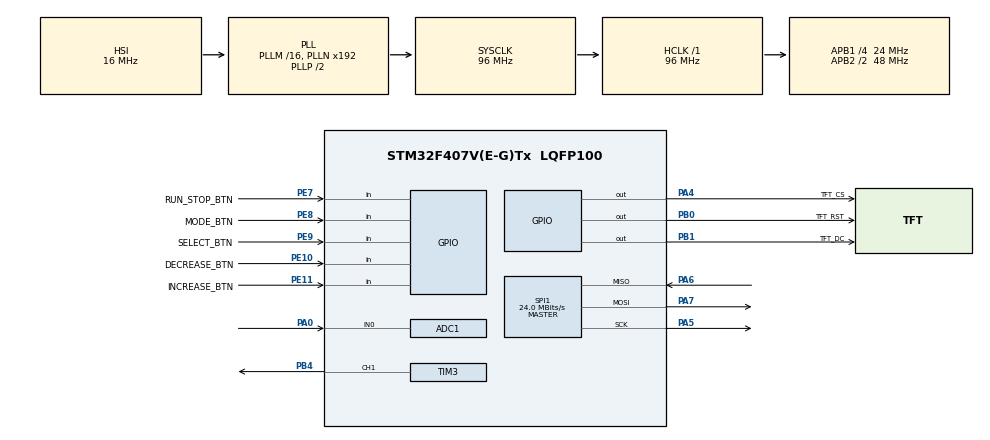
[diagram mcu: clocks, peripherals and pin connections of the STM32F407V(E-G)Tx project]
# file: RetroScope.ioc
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ADC1.Channel-0\#ChannelRegularConversion=ADC_CHANNEL_0
ADC1.DMAContinuousRequests=ENABLE
ADC1.ExternalTrigConv=ADC_EXTERNALTRIGCONV_T2_TRGO
ADC1.InjNumberOfConversion=0
ADC1.NbrOfConversion=1
ADC1.NbrOfConversionFlag=1
ADC1.Rank-0\#ChannelRegularConversion=1
ADC1.SamplingTime-0\#ChannelRegularConversion=ADC_SAMPLETIME_84CYCLES
ADC1.master=1
Dma.ADC1.0.Direction=DMA_PERIPH_TO_MEMORY
Dma.ADC1.0.FIFOMode=DMA_FIFOMODE_DISABLE
Dma.ADC1.0.Instance=DMA2_Stream0
Dma.ADC1.0.MemDataAlignment=DMA_MDATAALIGN_HALFWORD
Dma.ADC1.0.MemInc=DMA_MINC_ENABLE
Dma.ADC1.0.Mode=DMA_CIRCULAR
Dma.ADC1.0.PeriphDataAlignment=DMA_PDATAALIGN_HALFWORD
Dma.ADC1.0.PeriphInc=DMA_PINC_DISABLE
Dma.ADC1.0.Priority=DMA_PRIORITY_HIGH
Dma.Request0=ADC1
Mcu.Family=STM32F4
Mcu.Name=STM32F407V(E-G)Tx
Mcu.Package=LQFP100
NVIC.DMA2_Stream0_IRQn=true\:0\:0\:false\:false\:true\:false\:true\:true
NVIC.PriorityGroup=NVIC_PRIORITYGROUP_4
PA0-WKUP.Signal=ADCx_IN0
PA4.GPIO_Label=TFT_CS
PA4.PinState=GPIO_PIN_SET
PA4.Signal=GPIO_Output
PA5.Mode=Full_Duplex_Master
PA5.Signal=SPI1_SCK
PA6.Mode=Full_Duplex_Master
PA6.Signal=SPI1_MISO
PA7.Mode=Full_Duplex_Master
PA7.Signal=SPI1_MOSI
PB0.GPIO_Label=TFT_RST
PB0.PinState=GPIO_PIN_SET
PB0.Signal=GPIO_Output
PB1.GPIO_Label=TFT_DC
PB1.GPIO_ModeDefaultOutputPP=GPIO_MODE_OUTPUT_PP
PB1.GPIO_PuPd=GPIO_NOPULL
PB1.PinState=GPIO_PIN_SET
PB1.Signal=GPIO_Output
PB4.Signal=S_TIM3_CH1
PE10.GPIO_Label=DECREASE_BTN
PE10.GPIO_PuPd=GPIO_PULLUP
PE10.Signal=GPIO_Input
PE11.GPIO_Label=INCREASE_BTN
PE11.GPIO_PuPd=GPIO_PULLUP
PE11.Signal=GPIO_Input
PE7.GPIO_Label=RUN_STOP_BTN
PE7.GPIO_PuPd=GPIO_PULLUP
PE7.Signal=GPIO_Input
PE8.GPIO_Label=MODE_BTN
PE8.GPIO_PuPd=GPIO_PULLUP
PE8.Signal=GPIO_Input
PE9.GPIO_Label=SELECT_BTN
PE9.GPIO_PuPd=GPIO_PULLUP
PE9.Signal=GPIO_Input
ProjectManager.HeapSize=0x200
ProjectManager.StackSize=0x400
ProjectManager.TargetToolchain=STM32CubeIDE
RCC.AHBFreq_Value=96000000
RCC.APB1CLKDivider=RCC_HCLK_DIV4
RCC.APB1Freq_Value=24000000
RCC.APB1TimFreq_Value=48000000
RCC.APB2CLKDivider=RCC_HCLK_DIV2
RCC.APB2Freq_Value=48000000
RCC.APB2TimFreq_Value=96000000
RCC.CortexFreq_Value=96000000
RCC.HCLKFreq_Value=96000000
RCC.HSE_VALUE=25000000
RCC.HSI_VALUE=16000000
RCC.LSE_VALUE=32768
RCC.SYSCLKFreq_VALUE=96000000
RCC.SYSCLKSource=RCC_SYSCLKSOURCE_PLLCLK
RCC.VCOOutputFreq_Value=192000000
SH.ADCx_IN0.0=ADC1_IN0,IN0
SH.S_TIM3_CH1.0=TIM3_CH1,PWM Generation1 CH1
SPI1.BaudRatePrescaler=SPI_BAUDRATEPRESCALER_2
SPI1.CalculateBaudRate=24.0 MBits/s
SPI1.Direction=SPI_DIRECTION_2LINES
SPI1.Mode=SPI_MODE_MASTER
SPI1.VirtualType=VM_MASTER
TIM2.Period=99
TIM2.Prescaler=47
TIM2.TIM_MasterOutputTrigger=TIM_TRGO_UPDATE
TIM3.Channel-PWM\ Generation1\ CH1=TIM_CHANNEL_1
TIM3.Period=4999
TIM3.Prescaler=47
TIM3.Pulse-PWM\ Generation1\ CH1=2500
VP_TIM2_VS_ClockSourceINT.Mode=Internal
VP_TIM3_VS_ClockSourceINT.Mode=Internal
board=custom

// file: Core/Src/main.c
/* USER CODE BEGIN Header */
/**
 ******************************************************************************
 * @file           : main.c
 * @brief          : Main program body
 ******************************************************************************
 * @attention
 *
 * Copyright (c) 2026 STMicroelectronics.
 * All rights reserved.
 *
 * This software is licensed under terms that can be found in the LICENSE file
 * in the root directory of this software component.
 * If no LICENSE file comes with this software, it is provided AS-IS.
 *
 ******************************************************************************
 */
/* USER CODE END Header */
#include "main.h"
#include "adc.h"
#include "dma.h"
#include "spi.h"
#include "tim.h"
#include "gpio.h"

/* USER CODE BEGIN Includes */

#include "retroscope_ui.h"
#include "st7796.h"
#include "retroscope_input.h"

/* USER CODE END Includes */

/* USER CODE BEGIN PD */

#define FRAME_INTERVAL_MS 33U
#define ADC_SAMPLES_PER_HALF 802U
#define ADC_BUFFER_SIZE (ADC_SAMPLES_PER_HALF * 2U)
#define ADC_DISPLAY_SAMPLES RETROSCOPE_WAVEFORM_SAMPLES
#define ADC_TRIGGER_LEVEL 2048U
#define ADC_TRIGGER_HYSTERESIS 64U
// Trigger-center adjustment per accepted button press, in ADC counts.
#define ADC_TRIGGER_LEVEL_STEP 128U
#define ADC_TRIGGER_EDGE_RISING 0U
#define ADC_TRIGGER_EDGE_FALLING 1U
#define ADC_TRIGGER_MODE_AUTO 0U
#define ADC_TRIGGER_MODE_NORMAL 1U
#define ADC_TRIGGER_MODE_SINGLE 2U
#define SINGLE_STATE_IDLE 0U
#define SINGLE_STATE_ARMED 1U
#define SINGLE_STATE_CAPTURED 2U
#define SINGLE_STATE_RENDERING 3U
// Nominal sampling rate for the current fixed TIM2 configuration.
#define ADC_SAMPLE_RATE_HZ 10000U
// Frequency detection thresholds in raw ADC counts.
#define ADC_FREQUENCY_LOW_LEVEL 1984U
#define ADC_FREQUENCY_HIGH_LEVEL 2112U
// Assumed ADC reference voltage; not yet calibrated.
#define ADC_REFERENCE_VOLTS 3.3f
#define ADC_MAX_COUNT 4095U

/* USER CODE END PD */

/* USER CODE BEGIN PV */

static uint32_t LastFrameTick = 0U;
static uint32_t FrameStartCycles = 0U;
volatile uint32_t FrameCycles = 0U;
volatile float FrameTimeMs = 0.0f;

volatile float MaxFrameTimeMs = 0.0f;
volatile float MinFrameTimeMs = 1000000.0f;
volatile float SpiTransferMs = 0.0f;
volatile float ActualFPS = 0.0f;
static uint32_t PreviousFrameStart = 0U;
// DMA writes AdcBuffer; the ISR publishes a copy into AdcCaptureBuffer.
uint16_t AdcBuffer[ADC_BUFFER_SIZE];
uint16_t AdcSnapshot[ADC_DISPLAY_SAMPLES];
uint16_t AdcDisplayBuffer[ADC_DISPLAY_SAMPLES];
uint16_t AdcCaptureBuffer[ADC_SAMPLES_PER_HALF];
// 0: ISR may write. 1: main owns the capture until processing finishes.
volatile uint32_t AdcCaptureReady = 0U;
volatile uint32_t AdcDroppedCaptureCount = 0U;
volatile uint32_t AdcUnsafeCaptureCount = 0U;

volatile float ActualSampleRate = 0.0f;

static uint32_t LastSampleRateTick = 0U;
static uint32_t PreviousBufferCount = 0U;
volatile uint32_t AdcHalfCompleteCount = 0U;
volatile uint32_t AdcBufferCompleteCount = 0U;
volatile uint16_t AdcLatestSample = 0U;
volatile uint32_t AdcSnapshotCount = 0U;

static uint32_t LastDisplayedSnapshot = 0U;
volatile uint32_t DisplaySnapshotCount = 0U;
volatile uint16_t AdcMinValue = 4095U;
volatile uint16_t AdcMaxValue = 0U;
// Main-loop trigger processing time, including any interrupt preemption.
volatile uint32_t AdcProcessingCycles = 0U;
volatile uint32_t MaxAdcProcessingCycles = 0U;
// Successful DMA-half copy and publication time; excludes skipped captures.
volatile uint32_t AdcCaptureCopyCycles = 0U;
volatile uint32_t MaxAdcCaptureCopyCycles = 0U;
volatile float AdcFrequencyHz = 0.0f;
volatile uint32_t AdcFrequencyValid = 0U;
volatile uint32_t AdcFrequencyPeriodCount = 0U;
static uint32_t LastFrequencyDisplayTick = 0U;
volatile float AdcMinVolts = 0.0f;
volatile float AdcMaxVolts = 0.0f;
volatile float AdcPeakToPeakVolts = 0.0f;
// Display control: 0 stops updates; nonzero runs.
volatile uint32_t RequestedRun = 1U;

// Applied only between complete waveform frames.
static uint8_t DisplayRunning = 1U;
// Requested horizontal scale, in microseconds per division.
volatile uint32_t RequestedTimebaseUs = RETROSCOPE_TIMEBASE_4_MS;
// Requested vertical display mode.
volatile uint32_t RequestedVerticalScale = RETROSCOPE_VERTICAL_FULL_RANGE;
// Requested waveform trigger edge; rising is the default.
volatile uint32_t RequestedTriggerEdge = ADC_TRIGGER_EDGE_RISING;
// Requested trigger center level, in raw ADC counts.
volatile uint32_t RequestedTriggerLevel = ADC_TRIGGER_LEVEL;
static uint32_t SnapshotTriggerEdge = ADC_TRIGGER_EDGE_RISING;
// Requested trigger mode; Auto allows free-running fallback captures.
volatile uint32_t RequestedTriggerMode = ADC_TRIGGER_MODE_AUTO;
// Write 1 to request a new Single capture; main clears it when handled.
volatile uint32_t RequestedSingleArm = 0U;
static uint32_t SnapshotTriggerLevel = ADC_TRIGGER_LEVEL;
// 1: a trigger was found. 0: this snapshot uses the fallback window.
static uint8_t SnapshotTriggered = 0U;
static float SnapshotFrequencyHz = 0.0f;
static uint8_t SnapshotFrequencyValid = 0U;
static float DisplayFrequencyHz = 0.0f;
static uint8_t DisplayFrequencyValid = 0U;
static uint32_t ActiveTriggerMode = ADC_TRIGGER_MODE_AUTO;
static uint8_t TriggerWaiting = 0U;
// Single capture progresses from armed to captured to rendering.
static uint8_t SingleState = SINGLE_STATE_IDLE;
// Selected setting for the shared decrease/increase buttons.
static uint32_t SelectedSetting = RETROSCOPE_SETTING_TIMEBASE;
// Settings associated with the frame selected for display.
static uint32_t DisplayTimebaseUs = RETROSCOPE_TIMEBASE_4_MS;
static uint32_t DisplayVerticalScale = RETROSCOPE_VERTICAL_FULL_RANGE;
static uint32_t DisplayTriggerEdge = ADC_TRIGGER_EDGE_RISING;
static uint32_t DisplayTriggerLevel = ADC_TRIGGER_LEVEL;
static uint8_t DisplaySettingsValid = 0U;

/* USER CODE END PV */

void SystemClock_Config(void);
/* USER CODE BEGIN PFP */

static void RetroScope_ProcessAdcCapture(const uint16_t* Samples);

/* USER CODE END PFP */

/* USER CODE BEGIN 0 */

static uint8_t RetroScope_HasPendingSettings(void) {
  if (DisplaySettingsValid == 0U) {
    return 0U;
  }

  uint32_t TimebaseUs = RequestedTimebaseUs;
  uint32_t VerticalScale = RequestedVerticalScale;
  uint32_t TriggerEdge = RequestedTriggerEdge;
  uint32_t TriggerLevel = RequestedTriggerLevel;

  // Match the effective settings used by acquisition and rendering.
  if (TimebaseUs != RETROSCOPE_TIMEBASE_2_MS) {
    TimebaseUs = RETROSCOPE_TIMEBASE_4_MS;
  }

  if (VerticalScale != RETROSCOPE_VERTICAL_1_V_DIV) {
    VerticalScale = RETROSCOPE_VERTICAL_FULL_RANGE;
  }

  if (TriggerEdge != ADC_TRIGGER_EDGE_FALLING) {
    TriggerEdge = ADC_TRIGGER_EDGE_RISING;
  }

  if (TriggerLevel < ADC_TRIGGER_HYSTERESIS) {
    TriggerLevel = ADC_TRIGGER_HYSTERESIS;
  } else if (TriggerLevel > ADC_MAX_COUNT - ADC_TRIGGER_HYSTERESIS) {
    TriggerLevel = ADC_MAX_COUNT - ADC_TRIGGER_HYSTERESIS;
  }

  return (TimebaseUs != DisplayTimebaseUs ||
          VerticalScale != DisplayVerticalScale ||
          TriggerEdge != DisplayTriggerEdge ||
          TriggerLevel != DisplayTriggerLevel)
             ? 1U
             : 0U;
}

static void RetroScope_MeasureFrequency(const uint16_t* Samples) {
  uint16_t FirstEdge = 0U;
  uint16_t LastEdge = 0U;
  uint16_t EdgeCount = 0U;
  uint8_t EdgeArmed = 0U;

  AdcFrequencyValid = 0U;
  AdcFrequencyHz = 0.0f;
  AdcFrequencyPeriodCount = 0U;

  for (uint16_t i = 0U; i < ADC_SAMPLES_PER_HALF; i++) {
    uint16_t Sample = Samples[i];

    if (Sample <= ADC_FREQUENCY_LOW_LEVEL) {
      EdgeArmed = 1U;
    } else if (EdgeArmed != 0U && Sample >= ADC_FREQUENCY_HIGH_LEVEL) {
      if (EdgeCount == 0U) {
        FirstEdge = i;
      }

      LastEdge = i;
      EdgeCount++;
      EdgeArmed = 0U;
    }
  }

  if (EdgeCount < 2U) {
    return;
  }

  uint32_t PeriodCount = EdgeCount - 1U;
  uint32_t SampleSpan = LastEdge - FirstEdge;

  AdcFrequencyHz =
      ((float)ADC_SAMPLE_RATE_HZ * (float)PeriodCount) / (float)SampleSpan;

  AdcFrequencyPeriodCount = PeriodCount;
  AdcFrequencyValid = 1U;
}

static void RetroScope_EnableCycleCounter(void) {
  // Enable trace functionality
  CoreDebug->DEMCR |= CoreDebug_DEMCR_TRCENA_Msk;

  // Reset the cycle counter
  DWT->CYCCNT = 0U;

  // Enable cycle counting
  DWT->CTRL |= DWT_CTRL_CYCCNTENA_Msk;
}

static uint8_t RetroScope_GetAdcSnapshot(void) {
  // Snapshot production and display copying both run in the main loop.
  if (AdcSnapshotCount == LastDisplayedSnapshot) {
    return 0U;
  }

  for (uint16_t i = 0U; i < ADC_DISPLAY_SAMPLES; i++) {
    AdcDisplayBuffer[i] = AdcSnapshot[i];
  }

  DisplayFrequencyHz = SnapshotFrequencyHz;
  DisplayFrequencyValid = SnapshotFrequencyValid;
  LastDisplayedSnapshot = AdcSnapshotCount;

  DisplaySnapshotCount++;

  return 1U;
}

static void RetroScope_MeasureAdcRange(void) {
  uint16_t min = ADC_MAX_COUNT;
  uint16_t max = 0U;

  for (uint16_t i = 0U; i < ADC_DISPLAY_SAMPLES; i++) {
    uint16_t sample = AdcDisplayBuffer[i];

    if (sample < min) {
      min = sample;
    }

    if (sample > max) {
      max = sample;
    }
  }

  AdcMinValue = min;
  AdcMaxValue = max;

  const float VoltsPerCount = ADC_REFERENCE_VOLTS / (float)ADC_MAX_COUNT;

  AdcMinVolts = (float)min * VoltsPerCount;
  AdcMaxVolts = (float)max * VoltsPerCount;
  AdcPeakToPeakVolts = (float)(max - min) * VoltsPerCount;
}

/* USER CODE END 0 */

int main(void)
{

  /* MCU Configuration--------------------------------------------------------*/

  /* Reset of all peripherals, Initializes the Flash interface and the Systick. */
  HAL_Init();

  /* Configure the system clock */
  SystemClock_Config();

  /* Initialize all configured peripherals */
  MX_GPIO_Init();
  MX_DMA_Init();
  MX_SPI1_Init();
  MX_ADC1_Init();
  MX_TIM2_Init();
  MX_TIM3_Init();
  /* USER CODE BEGIN 2 */

  ST7796_Init();

  RetroScope_DrawLayout();
  RetroScope_DrawGrid();
  RetroScope_DrawLabels();

  RetroScope_EnableCycleCounter();

  if (HAL_ADC_Start_DMA(&hadc1, (uint32_t*)AdcBuffer, ADC_BUFFER_SIZE) !=
      HAL_OK) {
    Error_Handler();
  }

  if (HAL_TIM_Base_Start(&htim2) != HAL_OK) {
    Error_Handler();
  }

  if (HAL_TIM_PWM_Start(&htim3, TIM_CHANNEL_1) != HAL_OK) {
    Error_Handler();
  }

  LastFrameTick = HAL_GetTick();

  /* USER CODE END 2 */

  /* Infinite loop */
  while (1) {

    /* USER CODE BEGIN 3 */

    uint8_t RunStopPressed = RetroScope_InputPollRunStop();
    uint8_t ModePressed = RetroScope_InputPollMode();
    uint8_t SelectPressed = RetroScope_InputPollSelect();
    uint8_t DecreasePressed = RetroScope_InputPollDecrease();
    uint8_t IncreasePressed = RetroScope_InputPollIncrease();

    // If both events arrive in this pass, mode selection takes priority.
    if (ModePressed != 0U) {
      uint32_t Mode = RequestedTriggerMode;

      if (Mode == ADC_TRIGGER_MODE_AUTO) {
        RequestedTriggerMode = ADC_TRIGGER_MODE_NORMAL;
      } else if (Mode == ADC_TRIGGER_MODE_NORMAL) {
        RequestedTriggerMode = ADC_TRIGGER_MODE_SINGLE;
      } else {
        RequestedTriggerMode = ADC_TRIGGER_MODE_AUTO;
      }

      // A mode change must not carry an old arm request into Single.
      RequestedSingleArm = 0U;
    } else if (RunStopPressed != 0U) {
      if (RequestedTriggerMode == ADC_TRIGGER_MODE_SINGLE) {
        if (SingleState == SINGLE_STATE_IDLE) {
          RequestedSingleArm = 1U;
        } else {
          RequestedSingleArm = 0U;
          RequestedRun = 0U;
        }
      } else {
        RequestedRun = (RequestedRun != 0U) ? 0U : 1U;
      }
    }

    if (SelectPressed != 0U) {
      SelectedSetting++;

      if (SelectedSetting >= RETROSCOPE_SETTING_COUNT) {
        SelectedSetting = RETROSCOPE_SETTING_TIMEBASE;
      }
    }

    // Ignore adjustment when SELECT or both adjustment events arrive together.
    if (SelectPressed == 0U &&
        DecreasePressed != IncreasePressed) {
      if (SelectedSetting == RETROSCOPE_SETTING_TIMEBASE) {
        RequestedTimebaseUs =
            (DecreasePressed != 0U)
                ? RETROSCOPE_TIMEBASE_2_MS
                : RETROSCOPE_TIMEBASE_4_MS;
      } else if (SelectedSetting == RETROSCOPE_SETTING_VERTICAL_SCALE) {
        RequestedVerticalScale =
            (DecreasePressed != 0U)
                ? RETROSCOPE_VERTICAL_FULL_RANGE
                : RETROSCOPE_VERTICAL_1_V_DIV;
      } else if (SelectedSetting == RETROSCOPE_SETTING_TRIGGER_LEVEL) {
        const uint32_t MinLevel = ADC_TRIGGER_HYSTERESIS;
        const uint32_t MaxLevel = ADC_MAX_COUNT - ADC_TRIGGER_HYSTERESIS;
        uint32_t Level = RequestedTriggerLevel;

        // Normalize debugger-written values before applying a step.
        if (Level < MinLevel) {
          Level = MinLevel;
        } else if (Level > MaxLevel) {
          Level = MaxLevel;
        }

        if (DecreasePressed != 0U) {
          Level = (Level - MinLevel >= ADC_TRIGGER_LEVEL_STEP)
                      ? Level - ADC_TRIGGER_LEVEL_STEP
                      : MinLevel;
        } else {
          Level = (MaxLevel - Level >= ADC_TRIGGER_LEVEL_STEP)
                      ? Level + ADC_TRIGGER_LEVEL_STEP
                      : MaxLevel;
        }

        RequestedTriggerLevel = Level;
      } else if (SelectedSetting == RETROSCOPE_SETTING_TRIGGER_EDGE) {
        RequestedTriggerEdge =
            (DecreasePressed != 0U)
                ? ADC_TRIGGER_EDGE_RISING
                : ADC_TRIGGER_EDGE_FALLING;
      }
    }

    // Stop or leaving Single mode cancels an unfinished Single operation.
    if (SingleState != SINGLE_STATE_IDLE &&
        (RequestedRun == 0U ||
         RequestedTriggerMode != ADC_TRIGGER_MODE_SINGLE)) {
      SingleState = SINGLE_STATE_IDLE;
      TriggerWaiting = 0U;

      // Discard any accepted snapshot that has not started displaying.
      LastDisplayedSnapshot = AdcSnapshotCount;
    }
    if (AdcCaptureReady != 0U) {
      __DMB();

      RetroScope_MeasureFrequency(AdcCaptureBuffer);
      RetroScope_ProcessAdcCapture(AdcCaptureBuffer);

      __DMB();
      // Release only after all reads of the capture have completed.
      AdcCaptureReady = 0U;
    }

    uint32_t CurrentTick = HAL_GetTick();

    // Apply Run/Stop only after the current frame is complete.
    if (RetroScope_IsFrameActive() == 0U) {
	  // Accept an arm request only when Single is idle.
	  if (RequestedSingleArm != 0U) {
		RequestedSingleArm = 0U;

		if (RequestedTriggerMode == ADC_TRIGGER_MODE_SINGLE &&
			SingleState == SINGLE_STATE_IDLE) {
	      // Skip any older snapshot still pending for display.
		  LastDisplayedSnapshot = AdcSnapshotCount;

		  SingleState = SINGLE_STATE_ARMED;
		  TriggerWaiting = 1U;
		  RequestedRun = 1U;
		  PreviousFrameStart = 0U;
		 }
	  }
      uint8_t RunRequested = (RequestedRun != 0U) ? 1U : 0U;

      if (RunRequested != DisplayRunning) {
        DisplayRunning = RunRequested;

        // Exclude time spent stopped from the next FPS calculation.
        PreviousFrameStart = 0U;
      }

      RetroScope_UpdateRunStatus(DisplayRunning);

      // Show the selected mode even while the waveform is stopped.
      RetroScope_UpdateTriggerMode(RequestedTriggerMode);

      RetroScope_UpdateSelectedSetting(SelectedSetting);

      RetroScope_UpdatePendingSettings(RetroScope_HasPendingSettings());

      if (DisplayRunning != 0U && TriggerWaiting != 0U) {
        RetroScope_UpdateTriggerStatus(0U, 1U);
      }
    }

    if (DisplayRunning != 0U &&
        RetroScope_IsFrameActive() == 0U &&
        (uint32_t)(CurrentTick - LastFrameTick) >= FRAME_INTERVAL_MS) {
      if (RetroScope_GetAdcSnapshot()) {
        if (PreviousFrameStart != 0U) {
          uint32_t Elapsed = CurrentTick - PreviousFrameStart;

          if (Elapsed > 0U) {
            ActualFPS = 1000.0f / (float)Elapsed;
          }
        }

        PreviousFrameStart = CurrentTick;
        LastFrameTick = CurrentTick;

        SpiTransferCycles = 0U;
        FrameStartCycles = DWT->CYCCNT;

        uint32_t TimebaseUs = RequestedTimebaseUs;

        if (TimebaseUs != RETROSCOPE_TIMEBASE_2_MS) {
          TimebaseUs = RETROSCOPE_TIMEBASE_4_MS;
        }

        uint32_t VerticalScale = RequestedVerticalScale;

        if (VerticalScale != RETROSCOPE_VERTICAL_1_V_DIV) {
          VerticalScale = RETROSCOPE_VERTICAL_FULL_RANGE;
        }

        RetroScope_MeasureAdcRange();
        RetroScope_LoadAdcWaveform(AdcDisplayBuffer, TimebaseUs, VerticalScale,
                                   ADC_REFERENCE_VOLTS);
        RetroScope_UpdateTimebase(TimebaseUs);
        RetroScope_UpdateVerticalScale(VerticalScale);
        RetroScope_UpdateTriggerEdge(SnapshotTriggerEdge ==
                                     ADC_TRIGGER_EDGE_FALLING);
        float TriggerVolts =
            ((float)SnapshotTriggerLevel / (float)ADC_MAX_COUNT) *
            ADC_REFERENCE_VOLTS;
        uint32_t TriggerCentivolts = (uint32_t)(TriggerVolts * 100.0f + 0.5f);

        RetroScope_UpdateTriggerLevel(TriggerCentivolts);
        RetroScope_UpdateTriggerMarker(SnapshotTriggerLevel,
                                        VerticalScale,
                                        ADC_REFERENCE_VOLTS);
        RetroScope_UpdateTriggerStatus(SnapshotTriggered, TriggerWaiting);
        // Track the frame that contains the accepted Single capture.
        if (ActiveTriggerMode == ADC_TRIGGER_MODE_SINGLE &&
            SingleState == SINGLE_STATE_CAPTURED) {
          SingleState = SINGLE_STATE_RENDERING;
        }
        // Record the effective settings used for this frame.
        DisplayTimebaseUs = TimebaseUs;
        DisplayVerticalScale = VerticalScale;
        DisplayTriggerEdge = SnapshotTriggerEdge;
        DisplayTriggerLevel = SnapshotTriggerLevel;
        DisplaySettingsValid = 1U;

        RetroScope_BeginFrame();
      }
    }

    if (RetroScope_IsFrameActive() != 0U) {
      RetroScope_RenderStep();

      if (RetroScope_IsFrameActive() == 0U) {
        FrameCycles = DWT->CYCCNT - FrameStartCycles;
        FrameTimeMs =
            (float)FrameCycles * 1000.0f / (float)HAL_RCC_GetHCLKFreq();

        if (FrameTimeMs > MaxFrameTimeMs) {
          MaxFrameTimeMs = FrameTimeMs;
        }

        if (FrameTimeMs < MinFrameTimeMs) {
          MinFrameTimeMs = FrameTimeMs;
        }

        SpiTransferMs =
            (float)SpiTransferCycles * 1000.0f / (float)HAL_RCC_GetHCLKFreq();
      }
    }

    uint32_t FrequencyDisplayTick = HAL_GetTick();

    if (DisplayRunning != 0U &&
        RetroScope_IsFrameActive() == 0U &&
        ((uint32_t)(FrequencyDisplayTick - LastFrequencyDisplayTick) >= 250U ||
         SingleState == SINGLE_STATE_RENDERING)) {
	  float FrequencyHz = DisplayFrequencyHz;
	  uint8_t Valid = (DisplayFrequencyValid != 0U && FrequencyHz > 0.0f &&
					   FrequencyHz <= (float)ADC_SAMPLE_RATE_HZ / 2.0f);

      uint32_t RoundedHz = 0U;

      if (Valid != 0U) {
        RoundedHz = (uint32_t)(FrequencyHz + 0.5f);
      }

      RetroScope_UpdateFrequency(RoundedHz, Valid);
      float PeakToPeakVolts = AdcPeakToPeakVolts;
      uint8_t VppValid =
          (DisplaySnapshotCount != 0U && PeakToPeakVolts >= 0.0f &&
           PeakToPeakVolts <= ADC_REFERENCE_VOLTS);

      uint32_t Centivolts = 0U;

      if (VppValid != 0U) {
        Centivolts = (uint32_t)(PeakToPeakVolts * 100.0f + 0.5f);
      }

      RetroScope_UpdateVpp(Centivolts, VppValid);
      LastFrequencyDisplayTick = FrequencyDisplayTick;
      // Hold the completed Single frame and its measurements.
      if (SingleState == SINGLE_STATE_RENDERING) {
        SingleState = SINGLE_STATE_IDLE;
        RequestedRun = 0U;
        DisplayRunning = 0U;
        PreviousFrameStart = 0U;
        RetroScope_UpdateRunStatus(DisplayRunning);
      }
    }

    uint32_t SampleRateTick = HAL_GetTick();

    if ((uint32_t)(SampleRateTick - LastSampleRateTick) >= 1000U) {
      uint32_t elapsed = SampleRateTick - LastSampleRateTick;

      uint32_t completed = AdcBufferCompleteCount - PreviousBufferCount;

      ActualSampleRate =
          ((float)completed * ADC_BUFFER_SIZE * 1000.0f) / (float)elapsed;

      PreviousBufferCount = AdcBufferCompleteCount;
      LastSampleRateTick = SampleRateTick;
    }
  }
  /* USER CODE END 3 */
}

void SystemClock_Config(void)
{
  RCC_OscInitTypeDef RCC_OscInitStruct = {0};
  RCC_ClkInitTypeDef RCC_ClkInitStruct = {0};

  /** Configure the main internal regulator output voltage
  */
  __HAL_RCC_PWR_CLK_ENABLE();
  __HAL_PWR_VOLTAGESCALING_CONFIG(PWR_REGULATOR_VOLTAGE_SCALE1);

  /** Initializes the RCC Oscillators according to the specified parameters
  * in the RCC_OscInitTypeDef structure.
  */
  RCC_OscInitStruct.OscillatorType = RCC_OSCILLATORTYPE_HSI;
  RCC_OscInitStruct.HSIState = RCC_HSI_ON;
  RCC_OscInitStruct.HSICalibrationValue = RCC_HSICALIBRATION_DEFAULT;
  RCC_OscInitStruct.PLL.PLLState = RCC_PLL_ON;
  RCC_OscInitStruct.PLL.PLLSource = RCC_PLLSOURCE_HSI;
  RCC_OscInitStruct.PLL.PLLM = 16;
  RCC_OscInitStruct.PLL.PLLN = 192;
  RCC_OscInitStruct.PLL.PLLP = RCC_PLLP_DIV2;
  RCC_OscInitStruct.PLL.PLLQ = 4;
  if (HAL_RCC_OscConfig(&RCC_OscInitStruct) != HAL_OK)
  {
    Error_Handler();
  }

  /** Initializes the CPU, AHB and APB buses clocks
  */
  RCC_ClkInitStruct.ClockType = RCC_CLOCKTYPE_HCLK|RCC_CLOCKTYPE_SYSCLK
                              |RCC_CLOCKTYPE_PCLK1|RCC_CLOCKTYPE_PCLK2;
  RCC_ClkInitStruct.SYSCLKSource = RCC_SYSCLKSOURCE_PLLCLK;
  RCC_ClkInitStruct.AHBCLKDivider = RCC_SYSCLK_DIV1;
  RCC_ClkInitStruct.APB1CLKDivider = RCC_HCLK_DIV4;
  RCC_ClkInitStruct.APB2CLKDivider = RCC_HCLK_DIV2;

  if (HAL_RCC_ClockConfig(&RCC_ClkInitStruct, FLASH_LATENCY_3) != HAL_OK)
  {
    Error_Handler();
  }
}

/* USER CODE BEGIN 4 */

// ISR only: copy before DMA returns to this half (nominally 80.2 ms).
// The occupied-buffer counter does not detect a late DMA interrupt.
static void RetroScope_PublishAdcCapture(const volatile uint16_t* Samples) {
  if (AdcCaptureReady != 0U) {
    AdcDroppedCaptureCount++;
    return;
  }

  uint32_t Remaining = __HAL_DMA_GET_COUNTER(hadc1.DMA_Handle);
  uint8_t SourceSafe = 0U;

  if (Samples == &AdcBuffer[0U]) {
    SourceSafe = (Remaining > 0U && Remaining <= ADC_SAMPLES_PER_HALF);
  } else if (Samples == &AdcBuffer[ADC_SAMPLES_PER_HALF]) {
    SourceSafe =
        (Remaining > ADC_SAMPLES_PER_HALF && Remaining <= ADC_BUFFER_SIZE);
  }

  if (SourceSafe == 0U) {
    AdcUnsafeCaptureCount++;
    return;
  }

  uint32_t StartCycles = DWT->CYCCNT;

  __DMB();

  for (uint16_t i = 0U; i < ADC_SAMPLES_PER_HALF; i++) {
    AdcCaptureBuffer[i] = Samples[i];
  }

  __DMB();

  uint32_t RemainingAfter = __HAL_DMA_GET_COUNTER(hadc1.DMA_Handle);
  uint32_t BoundaryFlag;

  if (Samples == &AdcBuffer[0U]) {
    SourceSafe =
        (RemainingAfter > 0U && RemainingAfter <= ADC_SAMPLES_PER_HALF);
    BoundaryFlag = DMA_FLAG_TCIF0_4;
  } else {
    SourceSafe = (RemainingAfter > ADC_SAMPLES_PER_HALF &&
                  RemainingAfter <= ADC_BUFFER_SIZE);
    BoundaryFlag = DMA_FLAG_HTIF0_4;
  }

  if (SourceSafe == 0U ||
      __HAL_DMA_GET_FLAG(hadc1.DMA_Handle, BoundaryFlag) != RESET) {
    AdcUnsafeCaptureCount++;
    return;
  }

  __DMB();
  // Publish only after the copy passes validation.
  AdcCaptureReady = 1U;

  uint32_t ElapsedCycles = DWT->CYCCNT - StartCycles;

  AdcCaptureCopyCycles = ElapsedCycles;

  if (ElapsedCycles > MaxAdcCaptureCopyCycles) {
    MaxAdcCaptureCopyCycles = ElapsedCycles;
  }
}

static void RetroScope_ProcessAdcCapture(const uint16_t* Samples) {
  uint32_t StartCycles = DWT->CYCCNT;
  uint16_t triggerIndex = 0U;
  uint8_t triggerFound = 0U;
  uint8_t TriggerArmed = 0U;

  // Read once; unsupported modes use Auto.
  uint32_t TriggerMode = RequestedTriggerMode;
  if (TriggerMode != ADC_TRIGGER_MODE_NORMAL &&
      TriggerMode != ADC_TRIGGER_MODE_SINGLE) {
    TriggerMode = ADC_TRIGGER_MODE_AUTO;
  }

  // Read once so the selected edge stays consistent during this capture.
  uint32_t TriggerEdge = RequestedTriggerEdge;
  if (TriggerEdge != ADC_TRIGGER_EDGE_FALLING) {
    TriggerEdge = ADC_TRIGGER_EDGE_RISING;
  }

  // Read once and keep both hysteresis thresholds within the ADC range.
  uint32_t TriggerLevel = RequestedTriggerLevel;

  if (TriggerLevel < ADC_TRIGGER_HYSTERESIS) {
    TriggerLevel = ADC_TRIGGER_HYSTERESIS;
  } else if (TriggerLevel > ADC_MAX_COUNT - ADC_TRIGGER_HYSTERESIS) {
    TriggerLevel = ADC_MAX_COUNT - ADC_TRIGGER_HYSTERESIS;
  }

  uint32_t TriggerLowLevel = TriggerLevel - ADC_TRIGGER_HYSTERESIS;
  uint32_t TriggerHighLevel = TriggerLevel + ADC_TRIGGER_HYSTERESIS;

  // Keep enough samples remaining for the complete display window.
  for (uint16_t i = 0U; i <= ADC_SAMPLES_PER_HALF - ADC_DISPLAY_SAMPLES; i++) {
    uint16_t Sample = Samples[i];

    if (TriggerEdge == ADC_TRIGGER_EDGE_FALLING) {
      if (Sample >= TriggerHighLevel) {
        TriggerArmed = 1U;
      } else if (TriggerArmed != 0U && Sample <= TriggerLowLevel) {
        triggerFound = 1U;
      }
    } else {
      if (Sample <= TriggerLowLevel) {
        TriggerArmed = 1U;
      } else if (TriggerArmed != 0U && Sample >= TriggerHighLevel) {
        triggerFound = 1U;
      }
    }

    if (triggerFound != 0U) {
      triggerIndex = i;
      break;
    }
  }

  // Acquisition status updates even when Normal holds the last snapshot.
  ActiveTriggerMode = TriggerMode;
  TriggerWaiting =
      (triggerFound == 0U &&
       (TriggerMode == ADC_TRIGGER_MODE_NORMAL ||
        (TriggerMode == ADC_TRIGGER_MODE_SINGLE &&
         SingleState == SINGLE_STATE_ARMED)))
          ? 1U
          : 0U;

  // Single accepts a triggered capture only while explicitly armed.
  uint8_t PublishCapture =
      (TriggerMode == ADC_TRIGGER_MODE_AUTO ||
       (TriggerMode == ADC_TRIGGER_MODE_NORMAL && triggerFound != 0U) ||
       (TriggerMode == ADC_TRIGGER_MODE_SINGLE &&
        SingleState == SINGLE_STATE_ARMED && triggerFound != 0U));

  if (PublishCapture != 0U) {
    if (triggerFound == 0U) {
      triggerIndex = 0U;
    }

    // Copy the complete display window.
    for (uint16_t i = 0U; i < ADC_DISPLAY_SAMPLES; i++) {
      AdcSnapshot[i] = Samples[triggerIndex + i];
    }

    AdcLatestSample = AdcSnapshot[ADC_DISPLAY_SAMPLES - 1U];
    SnapshotTriggerEdge = TriggerEdge;
    SnapshotTriggerLevel = TriggerLevel;
    SnapshotTriggered = triggerFound;
    SnapshotFrequencyHz = AdcFrequencyHz;
    SnapshotFrequencyValid = (AdcFrequencyValid != 0U) ? 1U : 0U;
    AdcSnapshotCount++;

    if (TriggerMode == ADC_TRIGGER_MODE_SINGLE) {
      SingleState = SINGLE_STATE_CAPTURED;
    }
  }

  uint32_t ElapsedCycles = DWT->CYCCNT - StartCycles;

  AdcProcessingCycles = ElapsedCycles;

  if (ElapsedCycles > MaxAdcProcessingCycles) {
    MaxAdcProcessingCycles = ElapsedCycles;
  }
}

void HAL_ADC_ConvHalfCpltCallback(ADC_HandleTypeDef* hadc) {
  if (hadc->Instance == ADC1) {
    RetroScope_PublishAdcCapture(&AdcBuffer[0U]);
    AdcHalfCompleteCount++;
  }
}

void HAL_ADC_ConvCpltCallback(ADC_HandleTypeDef* hadc) {
  if (hadc->Instance == ADC1) {
    RetroScope_PublishAdcCapture(&AdcBuffer[ADC_SAMPLES_PER_HALF]);
    AdcBufferCompleteCount++;
  }
}

/* USER CODE END 4 */

void Error_Handler(void)
{
  __disable_irq();
  while (1) {
  }
}
#ifdef USE_FULL_ASSERT
/**
  * @brief  Reports the name of the source file and the source line number
  *         where the assert_param error has occurred.
  * @param  file: pointer to the source file name
  * @param  line: assert_param error line source number
  * @retval None
  */
void assert_failed(uint8_t *file, uint32_t line)
{
  /* USER CODE BEGIN 6 */
  /* User can add his own implementation to report the file name and line
     number, ex: printf("Wrong parameters value: file %s on line %d\r\n", file,
     line) */
  /* USER CODE END 6 */
}
#endif /* USE_FULL_ASSERT */
